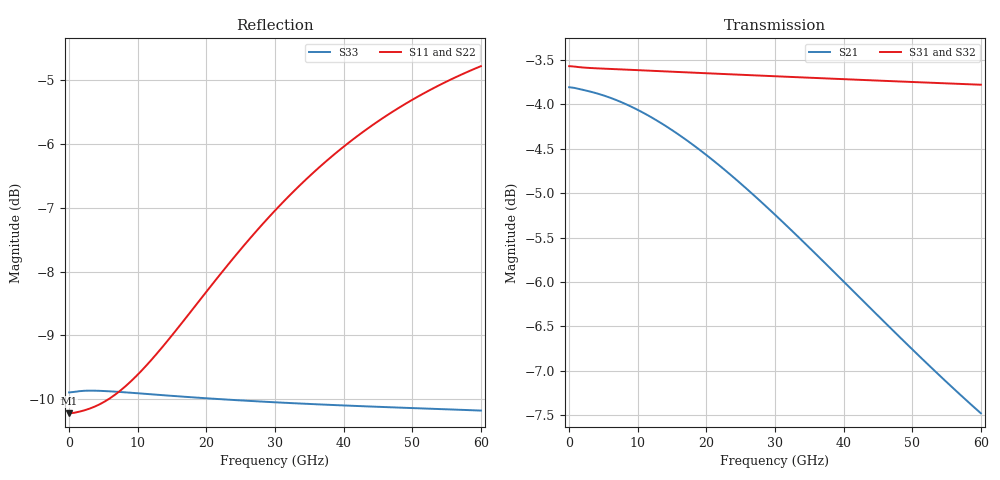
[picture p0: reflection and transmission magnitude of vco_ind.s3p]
#  GHZ S DB R 50
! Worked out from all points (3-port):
!   82 points, 10 MHz to 60 GHz, reference 50 ohm
!   strongest paths, dB at 10 MHz, 14.25 GHz, 30 GHz, 45 GHz, 60 GHz:
!     S31: -3.6, -3.6, -3.7, -3.7, -3.8
!     S32: -3.6, -3.7, -3.7, -3.8, -3.8
!     S21: -3.8, -4.3, -5.2, -6.4, -7.5
!   lowest |S11| = -10.2 dB at 10 MHz (marker M1), VSWR 1.89, Z = 26.4 + j0.0128 ohm
!   |S11| at or under -10 dB: start of sweep to 5.748 GHz
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0.01  -10.22 180.0  -3.81 -0.0  -3.57 -0.0
      -3.81 -0.0  -10.39 180.0  -3.65 -0.0
      -3.57 -0.0  -3.65 -0.0  -9.89 180.0
3.75  -10.12 164.5  -3.87 -7.6  -3.59 -1.3
      -3.87 -7.6  -10.28 164.3  -3.67 -1.2
      -3.59 -1.3  -3.67 -1.2  -9.87 177.7
7.5  -9.86 149.6  -3.97 -14.9  -3.60 -2.4
     -3.97 -14.9  -10.02 149.3  -3.68 -2.4
     -3.60 -2.4  -3.68 -2.4  -9.89 175.3
15.75  -8.90 121.4  -4.33 -30.5  -3.63 -4.9
       -4.33 -30.5  -9.01 120.8  -3.70 -4.8
       -3.63 -4.9  -3.70 -4.8  -9.95 170.5
23.25  -7.88 101.1  -4.77 -43.9  -3.66 -7.2
       -4.77 -43.9  -7.97 100.3  -3.72 -7.1
       -3.66 -7.2  -3.72 -7.1  -10.01 166.3
30.75  -6.96 84.7  -5.30 -56.7  -3.68 -9.4
       -5.30 -56.7  -7.03 83.9  -3.74 -9.3
       -3.68 -9.4  -3.74 -9.3  -10.05 162.3
37.5  -6.27 72.4  -5.80 -67.7  -3.71 -11.4
      -5.80 -67.7  -6.32 71.6  -3.75 -11.3
      -3.71 -11.4  -3.75 -11.3  -10.09 158.7
44.25  -5.70 61.9  -6.32 -78.2  -3.73 -13.4
       -6.32 -78.2  -5.75 61.1  -3.77 -13.3
       -3.73 -13.4  -3.77 -13.3  -10.12 155.3
51.75  -5.20 51.7  -6.89 -89.5  -3.75 -15.7
       -6.89 -89.5  -5.24 50.9  -3.78 -15.7
       -3.75 -15.7  -3.78 -15.7  -10.15 151.5
60  -4.78 42.0  -7.48 -101.4  -3.78 -18.3
    -7.48 -101.4  -4.82 41.0  -3.80 -18.3
    -3.78 -18.3  -3.80 -18.3  -10.18 147.5
